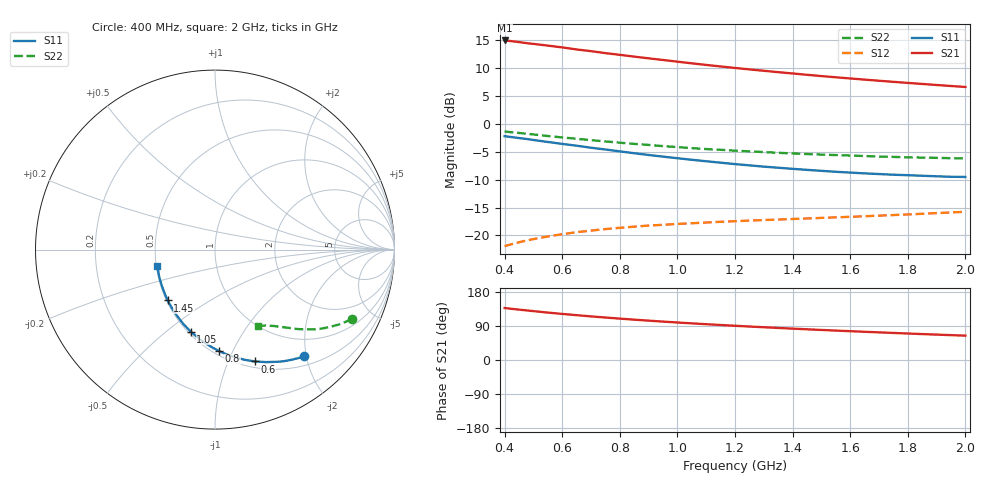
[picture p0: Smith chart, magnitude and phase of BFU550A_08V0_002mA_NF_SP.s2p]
! Filename:  P:\Prog\Test\Noise\ATS_data\Testdata_Net\06 Compressed Noise after Statistics\BFU550A_APG2013_35_C05_08p0V_002mA_NF_CM01_D.sf
! Date/Time: Tue 16/Apr/2013 15:11:27
! BFU550A_APG2013_35_C05_08p0V_1to35mA_NF_CM01_Bias2_R.sf
! Noise Parameter Data File
! BFU550A_APG2013_35_C05_08p0V_1to35mA_NF_CM01
! Date/time: Mon Apr 15 17:49:26 2013
! VAR V_out= 8.001000
! VAR I_out= 2.000000
! VAR V_in= 0.796100
! VAR I_in= 0.020100
! Device data file deembeded for feedlines and parallel
! Original file: \06 Compressed Noise after Statistics\BFU550A_APG2013_35_C05_08p0V_002mA_NF_CM01_R.sf
! Feed-files: PR017V01_150413_Feed1.s2p, PR017V01_150413_Feed2.s2p
! Parallel-file: PR017V01_150413_Par.s2p
# MHz S MA R 50
!  Freq-MHz  S11-mag  S11-arg  S21-mag  S21-arg  S12-mag  S12-arg  S22-mag  S22-arg
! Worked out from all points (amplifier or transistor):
!   37 points, 400 MHz to 2 GHz, reference 50 ohm
!   highest |S21| = 14.9 dB at 400 MHz (marker M1)
!   |S21| within 3 dB of that: start of sweep to 866.9 MHz
!   unconditionally stable (mu >= 1): nowhere
!   at 500 MHz: K = 0.33, MSG = 17.5 dB, |S12| = -20.7 dB
!   at 1.1 GHz: K = 0.67, MSG = 14.1 dB, |S12| = -17.7 dB
!   at 2 GHz: K = 0.99, MSG = 11.2 dB, |S12| = -15.8 dB
!   lowest NFmin = 0.51 dB at 420 MHz
!   S11 on the Smith chart (normalised r, x): 400 MHz: 0.66, -1.96; 600 MHz: 0.57, -1.25; 800 MHz: 0.53, -0.89; 1.05 GHz: 0.52, -0.61; 1.45 GHz: 0.51, -0.34; 2 GHz: 0.51, -0.10
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400  0.7746 -50.1  5.586 137.2  0.08007 62.1  0.8527 -26.9
420  0.7629 -52.4  5.52 135.4  0.08285 61.1  0.8428 -27.9
440  0.7513 -54.5  5.442 133.8  0.08553 60.1  0.8331 -28.8
500  0.7168 -60.7  5.205 129.0  0.09269 57.5  0.803 -31.4
550  0.6876 -65.7  5.023 125.1  0.09776 55.6  0.7772 -33.5
600  0.6609 -70.5  4.841 121.6  0.1025 53.9  0.7551 -35.2
650  0.6364 -74.8  4.64 118.3  0.1069 52.4  0.7349 -36.9
700  0.6107 -79.3  4.479 115.0  0.1104 51.1  0.7139 -38.4
750  0.5887 -83.5  4.3 112.1  0.1139 50.0  0.6952 -39.7
800  0.5664 -87.6  4.153 109.2  0.1169 49.1  0.6776 -41.0
850  0.5452 -91.6  4.003 106.4  0.1197 48.2  0.6606 -42.2
950  0.5082 -99.3  3.733 101.3  0.1244 46.9  0.6309 -44.4
1050  0.4762 -106.5  3.483 96.7  0.1285 46.1  0.6053 -46.2
1100  0.4618 -110.0  3.372 94.5  0.1304 45.9  0.5941 -47.1
1200  0.4355 -116.8  3.168 90.3  0.134 45.5  0.5746 -48.8
1300  0.4133 -123.3  2.988 86.5  0.1372 45.5  0.5583 -50.4
1450  0.3866 -132.9  2.75 81.0  0.1419 46.0  0.5361 -52.5
1500  0.379 -136.1  2.678 79.3  0.1435 46.2  0.53 -53.3
1600  0.3654 -141.9  2.55 76.0  0.1467 46.8  0.5193 -54.8
1750  0.3498 -150.8  2.378 71.4  0.1522 48.1  0.5052 -56.9
1850  0.3423 -156.4  2.277 68.4  0.1562 49.0  0.4985 -58.4
2000  0.3342 -164.6  2.139 64.3  0.1629 50.5  0.4894 -60.6
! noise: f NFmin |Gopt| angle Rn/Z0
400  0.5692  0.4632  22.69  0.1973
460  0.543  0.4575  25.79  0.2002
600  0.5848  0.4579  35.06  0.1985
800  0.6084  0.4422  50.77  0.1627
1000  0.6624  0.4374  64.24  0.1464
1200  0.7161  0.4252  76.42  0.1389
1400  0.7833  0.4141  91.77  0.1112
1600  0.8003  0.3864  105.6  0.1
1800  0.7295  0.3635  123.3  0.0857
2000  0.826  0.3441  139.2  0.0758
